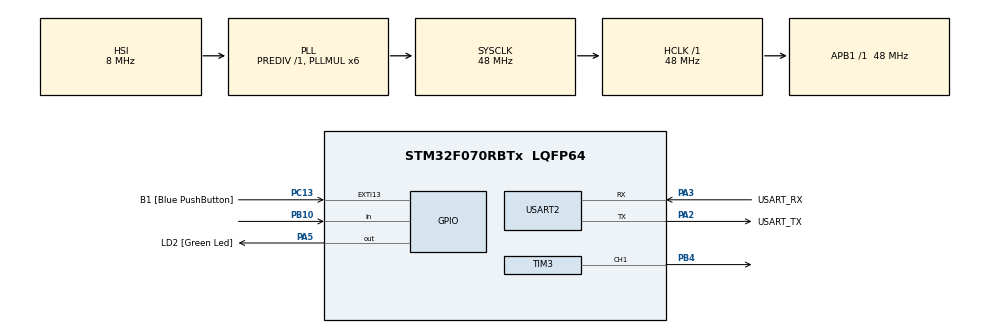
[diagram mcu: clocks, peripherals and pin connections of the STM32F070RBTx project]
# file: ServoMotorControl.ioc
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Mcu.Family=STM32F0
Mcu.Name=STM32F070RBTx
Mcu.Package=LQFP64
PA13.GPIO_Label=TMS
PA13.Mode=Serial_Wire
PA13.Signal=SYS_SWDIO
PA14.GPIO_Label=TCK
PA14.Mode=Serial_Wire
PA14.Signal=SYS_SWCLK
PA2.GPIO_Label=USART_TX
PA2.Mode=Asynchronous
PA2.Signal=USART2_TX
PA3.GPIO_Label=USART_RX
PA3.Mode=Asynchronous
PA3.Signal=USART2_RX
PA5.GPIO_Label=LD2 [Green Led]
PA5.Signal=GPIO_Output
PB10.Signal=GPIO_Input
PB4.Signal=S_TIM3_CH1
PC13.GPIO_Label=B1 [Blue PushButton]
PC13.GPIO_ModeDefaultEXTI=GPIO_MODE_IT_FALLING
PC13.Signal=GPXTI13
PC14-OSC32_IN.GPIO_Label=RCC_OSC32_IN
PC14-OSC32_IN.Mode=LSE-External-Oscillator
PC14-OSC32_IN.Signal=RCC_OSC32_IN
PC15-OSC32_OUT.GPIO_Label=RCC_OSC32_OUT
PC15-OSC32_OUT.Mode=LSE-External-Oscillator
PC15-OSC32_OUT.Signal=RCC_OSC32_OUT
PF0-OSC_IN.GPIO_Label=RCC_OSC_IN
PF0-OSC_IN.Mode=HSE-External-Clock-Source
PF0-OSC_IN.Signal=RCC_OSC_IN
PF1-OSC_OUT.GPIO_Label=RCC_OSC_OUT
PF1-OSC_OUT.Signal=RCC_OSC_OUT
ProjectManager.HeapSize=0x200
ProjectManager.StackSize=0x400
ProjectManager.TargetToolchain=STM32CubeIDE
RCC.AHBFreq_Value=48000000
RCC.APB1Freq_Value=48000000
RCC.APB1TimFreq_Value=48000000
RCC.HCLKFreq_Value=48000000
RCC.PLLMUL=RCC_PLL_MUL6
RCC.SYSCLKFreq_VALUE=48000000
RCC.SYSCLKSource=RCC_SYSCLKSOURCE_PLLCLK
SH.S_TIM3_CH1.0=TIM3_CH1,PWM Generation1 CH1
TIM3.AutoReloadPreload=TIM_AUTORELOAD_PRELOAD_ENABLE
TIM3.Channel-PWM\ Generation1\ CH1=TIM_CHANNEL_1
TIM3.Period=65535
TIM3.Prescaler=14.6484375-1
USART2.VirtualMode-Asynchronous=VM_ASYNC
VP_TIM3_VS_ClockSourceINT.Mode=Internal
board=NUCLEO-F070RB

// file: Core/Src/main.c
/* USER CODE BEGIN Header */
/**
  ******************************************************************************
  * @file           : main.c
  * @brief          : Main program body
  ******************************************************************************
  * @attention
  *
  * <h2><center>&copy; Copyright (c) 2021 STMicroelectronics.
  * All rights reserved.</center></h2>
  *
  * This software component is licensed by ST under BSD 3-Clause license,
  * the "License"; You may not use this file except in compliance with the
  * License. You may obtain a copy of the License at:
  *                        opensource.org/licenses/BSD-3-Clause
  *
  ******************************************************************************
  */
/* USER CODE END Header */
#include "main.h"

TIM_HandleTypeDef htim3;

UART_HandleTypeDef huart2;

void SystemClock_Config(void);
static void MX_GPIO_Init(void);
static void MX_USART2_UART_Init(void);
static void MX_TIM3_Init(void);

int main(void)
{
  /* USER CODE BEGIN 1 */
	int count = 0;
  /* USER CODE END 1 */

  /* MCU Configuration--------------------------------------------------------*/

  /* Reset of all peripherals, Initializes the Flash interface and the Systick. */
  HAL_Init();

  /* Configure the system clock */
  SystemClock_Config();

  /* Initialize all configured peripherals */
  MX_GPIO_Init();
  MX_USART2_UART_Init();
  MX_TIM3_Init();
  /* USER CODE BEGIN 2 */
  HAL_TIM_PWM_Start(&htim3, TIM_CHANNEL_1);
  /* USER CODE END 2 */

  /* Infinite loop */
  /* USER CODE BEGIN WHILE */
  while (1)
  {
	  if(count == 1){
		  TIM3->CCR1 = 1566.08;		// 0 degree
		  HAL_Delay(150);
	  }
	  else if(count == 2){
		  TIM3->CCR1 = 8864.32;		// 180 degree
		  HAL_Delay(150);
	  }
	  else{
		  count = 0;
		  TIM3->CCR1 = 5215;		// 90 degree
		  HAL_Delay(150);
	  }

	  if(GPIOB->IDR & 0x400){
		  count++;
		  HAL_Delay(150);
	  }
    /* USER CODE END WHILE */

  }
}

void SystemClock_Config(void)
{
  RCC_OscInitTypeDef RCC_OscInitStruct = {0};
  RCC_ClkInitTypeDef RCC_ClkInitStruct = {0};

  /** Initializes the RCC Oscillators according to the specified parameters
  * in the RCC_OscInitTypeDef structure.
  */
  RCC_OscInitStruct.OscillatorType = RCC_OSCILLATORTYPE_HSI;
  RCC_OscInitStruct.HSIState = RCC_HSI_ON;
  RCC_OscInitStruct.HSICalibrationValue = RCC_HSICALIBRATION_DEFAULT;
  RCC_OscInitStruct.PLL.PLLState = RCC_PLL_ON;
  RCC_OscInitStruct.PLL.PLLSource = RCC_PLLSOURCE_HSI;
  RCC_OscInitStruct.PLL.PLLMUL = RCC_PLL_MUL6;
  RCC_OscInitStruct.PLL.PREDIV = RCC_PREDIV_DIV1;
  if (HAL_RCC_OscConfig(&RCC_OscInitStruct) != HAL_OK)
  {
    Error_Handler();
  }
  /** Initializes the CPU, AHB and APB buses clocks
  */
  RCC_ClkInitStruct.ClockType = RCC_CLOCKTYPE_HCLK|RCC_CLOCKTYPE_SYSCLK
                              |RCC_CLOCKTYPE_PCLK1;
  RCC_ClkInitStruct.SYSCLKSource = RCC_SYSCLKSOURCE_PLLCLK;
  RCC_ClkInitStruct.AHBCLKDivider = RCC_SYSCLK_DIV1;
  RCC_ClkInitStruct.APB1CLKDivider = RCC_HCLK_DIV1;

  if (HAL_RCC_ClockConfig(&RCC_ClkInitStruct, FLASH_LATENCY_1) != HAL_OK)
  {
    Error_Handler();
  }
}

static void MX_TIM3_Init(void)
{

  TIM_ClockConfigTypeDef sClockSourceConfig = {0};
  TIM_MasterConfigTypeDef sMasterConfig = {0};
  TIM_OC_InitTypeDef sConfigOC = {0};

  htim3.Instance = TIM3;
  htim3.Init.Prescaler = 14.6484375-1;
  htim3.Init.CounterMode = TIM_COUNTERMODE_UP;
  htim3.Init.Period = 65535;
  htim3.Init.ClockDivision = TIM_CLOCKDIVISION_DIV1;
  htim3.Init.AutoReloadPreload = TIM_AUTORELOAD_PRELOAD_ENABLE;
  if (HAL_TIM_Base_Init(&htim3) != HAL_OK)
  {
    Error_Handler();
  }
  sClockSourceConfig.ClockSource = TIM_CLOCKSOURCE_INTERNAL;
  if (HAL_TIM_ConfigClockSource(&htim3, &sClockSourceConfig) != HAL_OK)
  {
    Error_Handler();
  }
  if (HAL_TIM_PWM_Init(&htim3) != HAL_OK)
  {
    Error_Handler();
  }
  sMasterConfig.MasterOutputTrigger = TIM_TRGO_RESET;
  sMasterConfig.MasterSlaveMode = TIM_MASTERSLAVEMODE_DISABLE;
  if (HAL_TIMEx_MasterConfigSynchronization(&htim3, &sMasterConfig) != HAL_OK)
  {
    Error_Handler();
  }
  sConfigOC.OCMode = TIM_OCMODE_PWM1;
  sConfigOC.Pulse = 0;
  sConfigOC.OCPolarity = TIM_OCPOLARITY_HIGH;
  sConfigOC.OCFastMode = TIM_OCFAST_DISABLE;
  if (HAL_TIM_PWM_ConfigChannel(&htim3, &sConfigOC, TIM_CHANNEL_1) != HAL_OK)
  {
    Error_Handler();
  }
  HAL_TIM_MspPostInit(&htim3);

}

static void MX_USART2_UART_Init(void)
{

  huart2.Instance = USART2;
  huart2.Init.BaudRate = 38400;
  huart2.Init.WordLength = UART_WORDLENGTH_8B;
  huart2.Init.StopBits = UART_STOPBITS_1;
  huart2.Init.Parity = UART_PARITY_NONE;
  huart2.Init.Mode = UART_MODE_TX_RX;
  huart2.Init.HwFlowCtl = UART_HWCONTROL_NONE;
  huart2.Init.OverSampling = UART_OVERSAMPLING_16;
  huart2.Init.OneBitSampling = UART_ONE_BIT_SAMPLE_DISABLE;
  huart2.AdvancedInit.AdvFeatureInit = UART_ADVFEATURE_NO_INIT;
  if (HAL_UART_Init(&huart2) != HAL_OK)
  {
    Error_Handler();
  }

}

static void MX_GPIO_Init(void)
{
  GPIO_InitTypeDef GPIO_InitStruct = {0};

  /* GPIO Ports Clock Enable */
  __HAL_RCC_GPIOC_CLK_ENABLE();
  __HAL_RCC_GPIOF_CLK_ENABLE();
  __HAL_RCC_GPIOA_CLK_ENABLE();
  __HAL_RCC_GPIOB_CLK_ENABLE();

  /*Configure GPIO pin Output Level */
  HAL_GPIO_WritePin(LD2_GPIO_Port, LD2_Pin, GPIO_PIN_RESET);

  /*Configure GPIO pin : B1_Pin */
  GPIO_InitStruct.Pin = B1_Pin;
  GPIO_InitStruct.Mode = GPIO_MODE_IT_FALLING;
  GPIO_InitStruct.Pull = GPIO_NOPULL;
  HAL_GPIO_Init(B1_GPIO_Port, &GPIO_InitStruct);

  /*Configure GPIO pin : LD2_Pin */
  GPIO_InitStruct.Pin = LD2_Pin;
  GPIO_InitStruct.Mode = GPIO_MODE_OUTPUT_PP;
  GPIO_InitStruct.Pull = GPIO_NOPULL;
  GPIO_InitStruct.Speed = GPIO_SPEED_FREQ_LOW;
  HAL_GPIO_Init(LD2_GPIO_Port, &GPIO_InitStruct);

  /*Configure GPIO pin : PB10 */
  GPIO_InitStruct.Pin = GPIO_PIN_10;
  GPIO_InitStruct.Mode = GPIO_MODE_INPUT;
  GPIO_InitStruct.Pull = GPIO_NOPULL;
  HAL_GPIO_Init(GPIOB, &GPIO_InitStruct);

}

void Error_Handler(void)
{
  __disable_irq();
  while (1)
  {
  }
}

/************************ (C) COPYRIGHT STMicroelectronics *****END OF FILE****/
